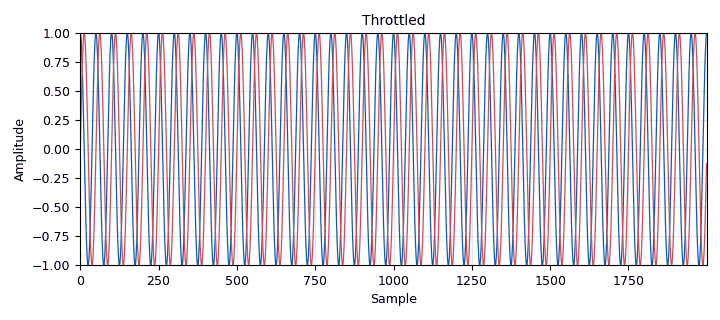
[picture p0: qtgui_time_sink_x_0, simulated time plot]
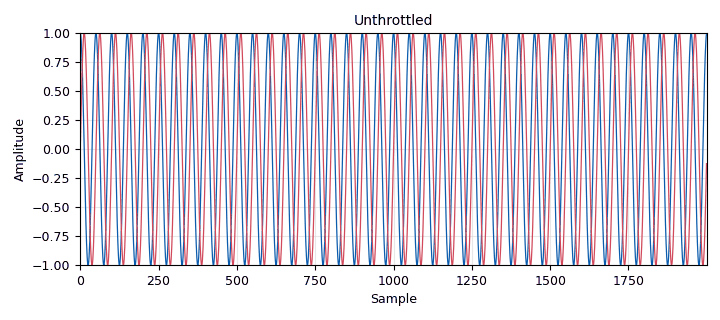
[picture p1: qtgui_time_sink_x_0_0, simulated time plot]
options:
  parameters:
    author: Marcus Müller
    copyright: '2023'
    description: Adapted from GNU Radio's own example (gr-blocks/examples/demonstrate_throttle.grc).
    generate_options: qt_gui
    id: demonstrate_throttle_path
    output_language: python
    title: Demonstrating the effect of a Throttle block
  states: {}

blocks:
- name: blocks_message_debug_0
  id: blocks_message_debug
  parameters: {}
  states: {}
- name: blocks_probe_rate_0
  id: blocks_probe_rate
  parameters:
    alpha: '0.5'
    mintime: '1000'
    name: Before Throttle
    type: complex
  states: {}
- name: blocks_probe_rate_0_0_0
  id: blocks_probe_rate
  parameters:
    alpha: '0.5'
    mintime: '1000'
    name: No Throttle
    type: complex
  states: {}
- name: blocks_throttle2_0
  id: blocks_throttle2
  parameters:
    limit: time
    maximum: 1/50
    samples_per_second: samp_rate
    type: complex
  states: {}
- name: qtgui_time_sink_x_0
  id: qtgui_time_sink_x
  parameters:
    axislabels: 'False'
    gui_hint: '[0,0]'
    legend: 'False'
    name: Throttled
    size: int(samp_rate/25)
    type: complex
    update_time: 1/25
    ylabel: '""'
    samp_rate: samp_rate
  states: {}
- name: qtgui_time_sink_x_0_0
  id: qtgui_time_sink_x
  parameters:
    axislabels: 'False'
    gui_hint: '[1,0]'
    legend: 'False'
    name: Unthrottled
    size: int(samp_rate/25)
    type: complex
    update_time: 1/25
    ylabel: '""'
    samp_rate: samp_rate
  states: {}
- name: samp_rate
  id: variable
  parameters:
    value: 50e3
  states: {}
- name: throttled_source
  id: analog_sig_source_x
  parameters:
    offset: '0'
    phase: '0'
    samp_rate: samp_rate
    type: complex
    waveform: analog.GR_COS_WAVE
    frequency: wave_freq
    amplitude: '1'
  states: {}
- name: unthrottled_source
  id: analog_sig_source_x
  parameters:
    offset: '0'
    phase: '0'
    samp_rate: samp_rate
    type: complex
    waveform: analog.GR_COS_WAVE
    frequency: wave_freq
    amplitude: '1'
  states: {}
- name: wave_freq
  id: variable
  parameters:
    value: '26'
  states: {}

connections:
- [blocks_probe_rate_0, rate, blocks_message_debug_0, log]
- [blocks_probe_rate_0_0_0, rate, blocks_message_debug_0, log]
- [throttled_source, '0', blocks_probe_rate_0, '0']
- [throttled_source, '0', blocks_throttle2_0, '0']
- [throttled_source, '0', qtgui_time_sink_x_0, '0']
- [unthrottled_source, '0', blocks_probe_rate_0_0_0, '0']
- [unthrottled_source, '0', qtgui_time_sink_x_0_0, '0']

metadata:
  file_format: 1
  grc_version: v3.11.0.0git-499-g5eee613e
